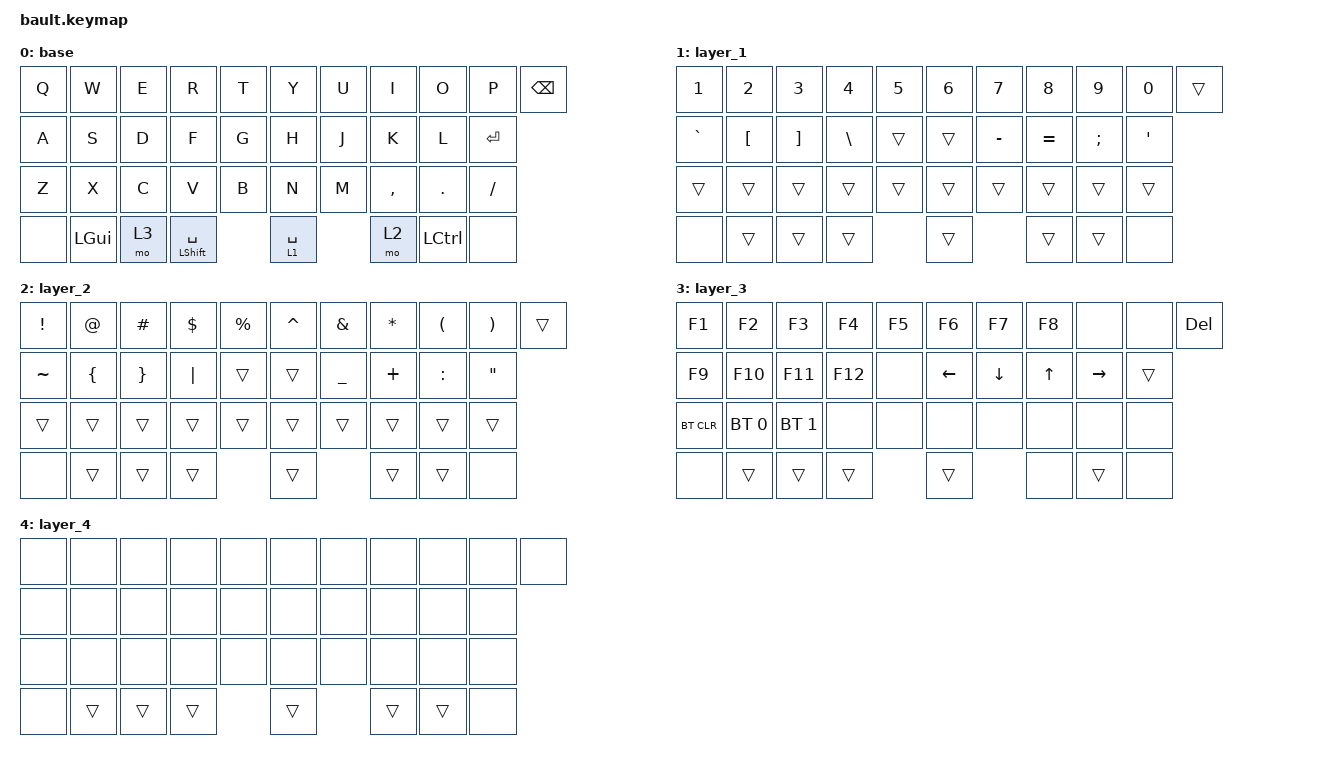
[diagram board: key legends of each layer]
#include <behaviors.dtsi>
#include <dt-bindings/zmk/keys.h>
#include <dt-bindings/zmk/bt.h>
#include <dt-bindings/zmk/outputs.h>

/ {

    behaviors {
        lt_hp: lt_hp {
            compatible = "zmk,behavior-hold-tap";
            label = "LAYER_TAP_BY_HOLD_TAP_HOLD_PREFERRED";
            #binding-cells = <2>;
            tapping-term-ms = <200>;
            quick-tap-ms = <0>;
            flavor = "hold-preferred";
            bindings = <&mo>, <&kp>;
        };

        mt_hp: mt_hp {
            compatible = "zmk,behavior-hold-tap";
            label = "MOD_TAP_BY_HOLD_TAP_HOLD_PREFERRED";
            #binding-cells = <2>;
            tapping-term-ms = <200>;
            quick-tap-ms = <0>;
            flavor = "hold-preferred";
            bindings = <&kp>, <&kp>;
        };
    };

    combos {
        compatible = "zmk,combos";
        combo_ecs {
            timeout-ms =  <100>;
            key-positions = <13 14>;
            bindings = <&kp ESC>;
        };

        combo_lctrl {
            timeout-ms = <100>;
            key-positions = <11 12>;
            bindings = <&kp LCTRL>;
            slow-release;
        };

        combo_tab {
            timeout-ms = <100>;
            key-positions = <0 1>;
            bindings = <&kp TAB>;
        };

        combo_bootloader {
            timeout-ms = <100>;
            key-positions = <0 10 32 35>;
            bindings = <&bootloader>;
        };
    };


    keymap {
        compatible = "zmk,keymap";

        base {
            bindings = <
                &kp Q        &kp W        &kp E        &kp R        &kp T        &kp Y        &kp U        &kp I        &kp O        &kp P        &kp BSPC
                &kp A        &kp S        &kp D        &kp F        &kp G        &kp H        &kp J        &kp K        &kp L        &kp ENTER
                &kp Z        &kp X        &kp C        &kp V        &kp B        &kp N        &kp M        &kp COMMA    &kp PERIOD   &kp SLASH
                &none        &kp LGUI     &mo 3        &mt_hp LSHFT SPACE        &lt_hp 1 SPACE            &mo 2        &kp LCTRL    &none
            >;
        };

        layer_1 {
            bindings = <
                &kp N1       &kp N2       &kp N3       &kp N4       &kp N5       &kp N6       &kp N7       &kp N8       &kp N9       &kp N0       &trans
                &kp GRAVE    &kp LBKT     &kp RBKT     &kp BSLH     &trans       &trans       &kp MINUS    &kp EQUAL    &kp SEMI     &kp SQT
                &trans       &trans       &trans       &trans       &trans       &trans       &trans       &trans       &trans       &trans
                &none        &trans       &trans       &trans                    &trans                    &trans       &trans       &none
            >;
        };

        layer_2 {
            bindings = <
                &kp EXCL     &kp AT       &kp HASH     &kp DLLR     &kp PRCNT    &kp CARET    &kp AMPS     &kp STAR     &kp LPAR     &kp RPAR     &trans
                &kp TILDE    &kp LBRC     &kp RBRC     &kp PIPE     &trans       &trans       &kp UNDER    &kp PLUS     &kp COLON    &kp DQT
                &trans       &trans       &trans       &trans       &trans       &trans       &trans       &trans       &trans       &trans
                &none        &trans       &trans       &trans                    &trans                    &trans       &trans       &none
            >;
        };

        layer_3 {
            bindings = <
                &kp F1       &kp F2       &kp F3       &kp F4       &kp F5       &kp F6       &kp F7       &kp F8       &none        &none        &kp DEL
                &kp F9       &kp F10      &kp F11      &kp F12      &none        &kp LEFT     &kp DOWN     &kp UP       &kp RIGHT    &trans
                &bt BT_CLR   &bt BT_SEL 0 &bt BT_SEL 1 &none        &none        &none        &none        &none        &none        &none
                &none        &trans       &trans       &trans                    &trans                    &none        &trans       &none
            >;
        };

        layer_4 {
            bindings = <
                &none        &none        &none        &none        &none        &none        &none        &none        &none        &none        &none
                &none        &none        &none        &none        &none        &none        &none        &none        &none        &none
                &none        &none        &none        &none        &none        &none        &none        &none        &none        &none
                &none        &trans       &trans       &trans                    &trans                    &trans       &trans       &none
            >;
        };
    };
};
